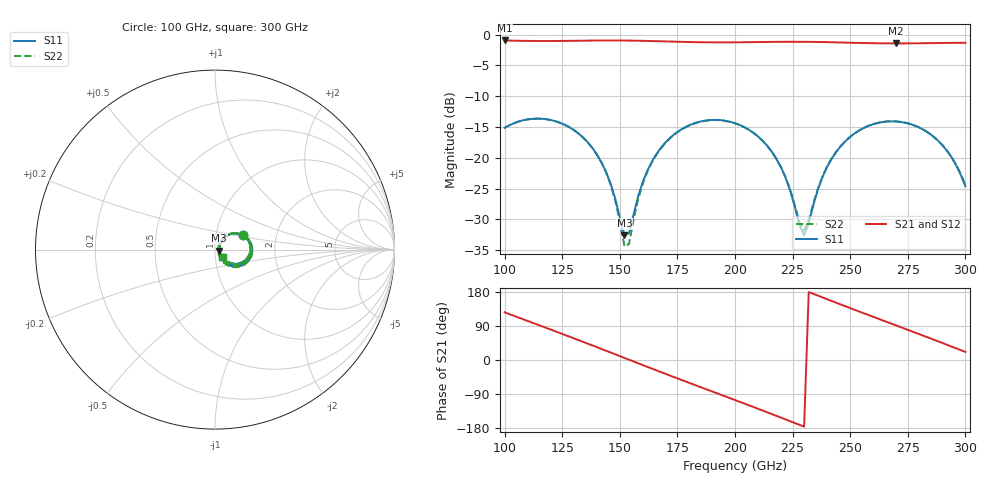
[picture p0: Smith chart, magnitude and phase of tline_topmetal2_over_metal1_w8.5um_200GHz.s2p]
#  GHZ S DB R 50
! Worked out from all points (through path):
!   101 points, 100 GHz to 300 GHz, reference 50 ohm
!   highest |S21| = -0.93 dB at 100 GHz (marker M1); lowest = -1.4 dB at 270 GHz (marker M2)
!   group delay of S21, straight-line fit = 6.46 ps
!   lowest |S11| = -32.6 dB at 152 GHz (marker M3), VSWR 1.05, Z = 52.3 - j0.709 ohm
!   |S11| at or under -10 dB: start of sweep to end of sweep
!   |S22| runs from -34.4 to -13.6 dB; largest |S21 - S12| = 1.6e-13
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100  -15.14 27.6  -0.93 125.9  -0.93 125.9  -15.14 27.2
118  -13.73 -8.9  -1.02 84.9  -1.02 84.9  -13.73 -9.7
134  -16.68 -40.4  -0.97 48.0  -0.97 48.0  -16.70 -42.0
144  -22.26 -54.4  -0.94 24.5  -0.94 24.5  -22.35 -57.7
148  -26.62 -51.7  -0.94 15.0  -0.94 15.0  -26.93 -57.1
152  -32.62 -16.8  -0.95 5.5  -0.95 5.5  -34.37 -22.5
154  -32.26 20.4  -0.95 0.8  -0.95 0.8  -34.03 24.8
160  -23.89 52.6  -0.99 -13.5  -0.99 -13.5  -24.17 56.7
168  -18.31 44.9  -1.07 -32.3  -1.07 -32.3  -18.40 47.1
184  -14.20 14.9  -1.21 -69.1  -1.21 -69.1  -14.24 16.2
200  -14.38 -17.1  -1.23 -105.6  -1.23 -105.6  -14.40 -16.0
210  -16.54 -36.3  -1.19 -128.7  -1.19 -128.7  -16.55 -35.0
218  -20.20 -48.9  -1.16 -147.5  -1.16 -147.5  -20.19 -47.2
230  -32.60 2.9  -1.15 -175.9  -1.15 -175.9  -31.82 3.7
234  -27.70 47.1  -1.17 174.6  -1.17 174.6  -27.40 45.3
240  -21.48 52.4  -1.21 160.4  -1.21 160.4  -21.40 51.4
246  -18.08 44.6  -1.26 146.3  -1.26 146.3  -18.04 44.1
258  -14.80 22.6  -1.37 118.5  -1.37 118.5  -14.79 22.5
268  -14.08 2.9  -1.41 95.7  -1.41 95.7  -14.07 3.0
270  -14.10 -1.0  -1.41 91.1  -1.41 91.1  -14.09 -1.0
288  -17.18 -35.2  -1.35 49.6  -1.35 49.6  -17.16 -34.5
300  -24.65 -45.4  -1.31 21.3  -1.31 21.3  -24.45 -43.1
